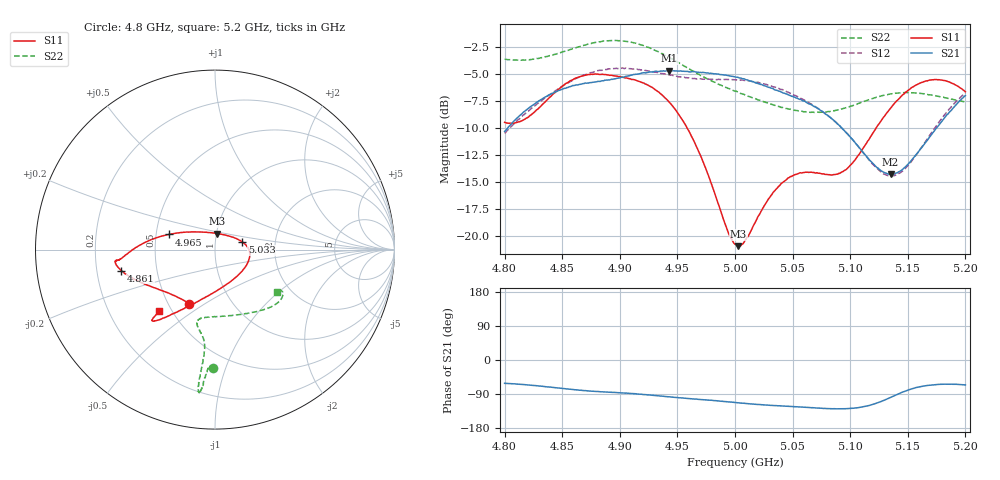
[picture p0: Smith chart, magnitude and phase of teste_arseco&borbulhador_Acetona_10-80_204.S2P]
! Network Analyzer HP8722D
! Hewlett-Packard
! Data name: Linha & Wilkinson
! Saver's name: Rodrigo Anjos
! Comments: Teste da utilização de aquisição
! continua pelo VNA HP8722D
! Time and date: 17/4/2025 16:03
!  Frequency  S11  S21  S12  S22
# HZ  S  MA R 50
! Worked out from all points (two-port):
!   401 points, 4.8 GHz to 5.2 GHz, reference 50 ohm
!   highest |S21| = -4.71 dB at 4.943 GHz (marker M1); lowest = -14.3 dB at 5.135 GHz (marker M2)
!   |S21| within 3 dB of the highest: 4.827 GHz to 5.063 GHz (236 MHz wide, 4.77 % of centre); 5.193261 GHz to end of sweep
!   lowest |S11| = -20.9 dB at 5.003 GHz (marker M3), VSWR 1.20, Z = 50.6 + j9.06 ohm
!   |S11| at or under -10 dB: 4.958 GHz to 5.123 GHz (164.2 MHz wide, 3.26 % of centre)
!   |S22| runs from -8.6 to -1.9 dB; largest |S21 - S12| = 0.87
!   S11 on the Smith chart (normalised r, x): 4.8 GHz: 0.63, -0.43; 4.861 GHz: 0.31, -0.10; 4.965 GHz: 0.58, +0.11; 5.033 GHz: 1.36, +0.12; 5.2 GHz: 0.43, -0.37
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4.8e9  0.3354 -115.2  0.3045 -61.6  0.2988 -175.8  0.6573 -90.9
4.819e9  0.3512 -135.3  0.383 -65.3  0.372 -175.1  0.6518 -92.5
4.861e9  0.5352 -167.3  0.4974 -78.5  0.5314 -178.5  0.739 -95.0
4.867e9  0.5489 -169.6  0.5048 -80.2  0.5493 -179.6  0.7566 -95.0
4.899e9  0.5455 -173.9  0.5379 -86.4  0.5954 174.1  0.799 -96.5
4.934e9  0.4623 -179.7  0.5759 -94.7  0.5695 170.9  0.7079 -96.7
4.943e9  0.4155 176.3  0.5813 -97.2  0.5555 170.9  0.6681 -96.5
4.965e9  0.2703 161.8  0.5753 -103.1  0.5349 172.7  0.573 -96.0
4.993e9  0.1081 116.9  0.5531 -110.1  0.5295 175.0  0.4846 -98.5
5e9  0.09179 92.7  0.544 -112.2  0.5274 174.9  0.4676 -99.9
5.003e9  0.08991 81.2  0.5406 -113.1  0.5268 175.1  0.4607 -100.8
5.01e9  0.09779 57.2  0.5272 -114.9  0.5223 174.9  0.4462 -102.2
5.033e9  0.159 15.5  0.4805 -120.1  0.4893 173.6  0.4047 -103.4
5.048e9  0.1883 0.8  0.4458 -122.3  0.4581 173.0  0.3857 -99.7
5.067e9  0.1972 -19.5  0.403 -125.8  0.4057 172.7  0.3742 -89.5
5.096e9  0.2024 -70.1  0.3027 -128.5  0.3027 174.5  0.3918 -66.6
5.121e9  0.307 -108.9  0.2129 -115.9  0.2115 -170.7  0.4354 -49.6
5.134e9  0.3842 -119.2  0.1933 -100.1  0.19 -153.0  0.4527 -43.0
5.135e9  0.3903 -119.8  0.1932 -98.7  0.1897 -151.2  0.454 -42.6
5.148e9  0.4615 -125.8  0.2091 -81.7  0.2059 -131.9  0.4607 -37.8
5.168e9  0.5242 -130.6  0.2826 -66.9  0.2872 -113.1  0.4498 -32.9
5.2e9  0.4644 -132.1  0.4462 -65.8  0.459 -107.9  0.4164 -34.3
